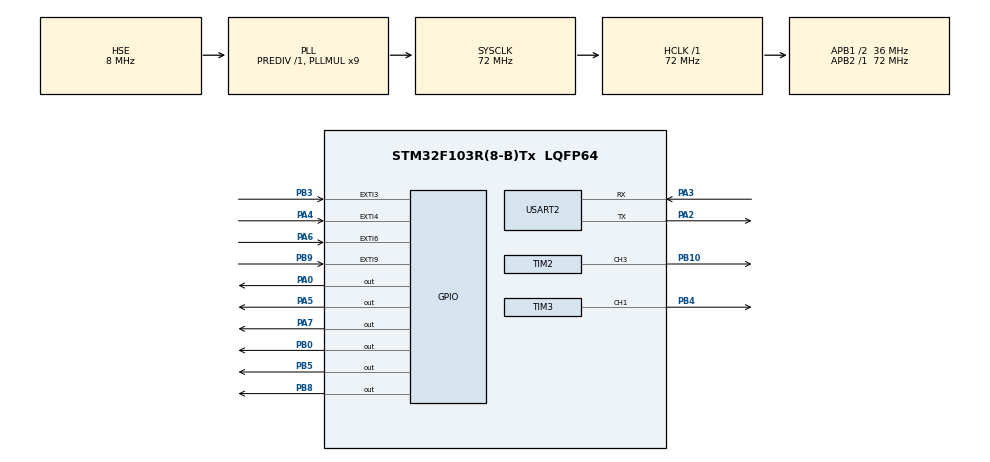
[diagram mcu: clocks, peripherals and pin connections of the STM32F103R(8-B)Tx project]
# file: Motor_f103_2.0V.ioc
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Mcu.Family=STM32F1
Mcu.Name=STM32F103R(8-B)Tx
Mcu.Package=LQFP64
NVIC.EXTI3_IRQn=true\:0\:0\:false\:false\:true\:true\:true\:true
NVIC.EXTI4_IRQn=true\:0\:0\:false\:false\:true\:true\:true\:true
NVIC.EXTI9_5_IRQn=true\:0\:0\:false\:false\:true\:true\:true\:true
NVIC.PriorityGroup=NVIC_PRIORITYGROUP_4
NVIC.TIM1_CC_IRQn=true\:0\:0\:false\:false\:true\:true\:true\:true
NVIC.TIM4_IRQn=true\:1\:0\:true\:false\:true\:true\:true\:true
PA0-WKUP.Signal=GPIO_Output
PA13.Mode=Serial_Wire
PA13.Signal=SYS_JTMS-SWDIO
PA14.Mode=Serial_Wire
PA14.Signal=SYS_JTCK-SWCLK
PA2.Mode=Asynchronous
PA2.Signal=USART2_TX
PA3.Mode=Asynchronous
PA3.Signal=USART2_RX
PA4.Signal=GPXTI4
PA5.GPIO_Speed=GPIO_SPEED_FREQ_HIGH
PA5.Signal=GPIO_Output
PA6.Signal=GPXTI6
PA7.GPIO_Speed=GPIO_SPEED_FREQ_HIGH
PA7.Signal=GPIO_Output
PB0.Signal=GPIO_Output
PB10.Signal=S_TIM2_CH3
PB3.Signal=GPXTI3
PB4.Signal=S_TIM3_CH1
PB5.GPIO_Speed=GPIO_SPEED_FREQ_HIGH
PB5.Signal=GPIO_Output
PB8.GPIO_Speed=GPIO_SPEED_FREQ_HIGH
PB8.Signal=GPIO_Output
PB9.Signal=GPXTI9
PD0-OSC_IN.Mode=HSE-External-Clock-Source
PD0-OSC_IN.Signal=RCC_OSC_IN
PD1-OSC_OUT.Mode=HSE-External-Clock-Source
PD1-OSC_OUT.Signal=RCC_OSC_OUT
ProjectManager.HeapSize=0x200
ProjectManager.StackSize=0x400
ProjectManager.TargetToolchain=STM32CubeIDE
RCC.AHBFreq_Value=72000000
RCC.APB1CLKDivider=RCC_HCLK_DIV2
RCC.APB1Freq_Value=36000000
RCC.APB1TimFreq_Value=72000000
RCC.APB2Freq_Value=72000000
RCC.APB2TimFreq_Value=72000000
RCC.HCLKFreq_Value=72000000
RCC.PLLMUL=RCC_PLL_MUL9
RCC.PLLSourceVirtual=RCC_PLLSOURCE_HSE
RCC.SYSCLKFreq_VALUE=72000000
RCC.SYSCLKSource=RCC_SYSCLKSOURCE_PLLCLK
RCC.USBFreq_Value=72000000
SH.S_TIM2_CH3.0=TIM2_CH3,PWM Generation3 CH3
SH.S_TIM3_CH1.0=TIM3_CH1,PWM Generation1 CH1
TIM1.Prescaler=72-1
TIM2.Channel-PWM\ Generation3\ CH3=TIM_CHANNEL_3
TIM2.Period=999
TIM2.Prescaler=71
TIM3.Channel-PWM\ Generation1\ CH1=TIM_CHANNEL_1
TIM3.Period=999
TIM3.Prescaler=71
TIM4.Period=99
TIM4.Prescaler=7199
USART2.VirtualMode=VM_ASYNC
VP_TIM1_VS_ClockSourceINT.Mode=Internal
VP_TIM4_VS_ClockSourceINT.Mode=Internal
board=custom

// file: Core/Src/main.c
/* USER CODE BEGIN Header */
/**
  ******************************************************************************
  * @file           : main.c
  * @brief          : Main program body
  ******************************************************************************
  * @attention
  *
  * Copyright (c) 2025 STMicroelectronics.
  * All rights reserved.
  *
  * This software is licensed under terms that can be found in the LICENSE file
  * in the root directory of this software component.
  * If no LICENSE file comes with this software, it is provided AS-IS.
  *
  ******************************************************************************
  */
/* USER CODE END Header */
#include "main.h"
#include "tim.h"
#include "usart.h"
#include "gpio.h"

/* USER CODE BEGIN Includes */
#include <stdlib.h>    // atoi, abs
#include <string.h>    // strlen
#include <stdio.h>     // snprintf
#include "motor_control.h"   // Motor_Init(), Stop_All(), Drive(), Move_xxx()
#include "sensor.h"          // Sensor_Init(), Sensor_Update(), dist_front, dist_right, ...
#include "robot_control.h"   // Control_Init(), Control_SetCmd(), Control_Update()
/* USER CODE END Includes */

/* USER CODE BEGIN PD */
#define CMD_BUF_SIZE  32
/* USER CODE END PD */

/* USER CODE BEGIN PV */
char cmdBuf[CMD_BUF_SIZE];
char    ack[64];                // 디버그 메시지용
uint8_t cmdIdx = 0;
uint8_t rx;   // UART 블로킹 수신 버퍼
volatile uint8_t flag_control; // 10 ms 타이머 ISR 신호
/* USER CODE END PV */

void SystemClock_Config(void);

int main(void)
{

  /* MCU Configuration--------------------------------------------------------*/

  /* Reset of all peripherals, Initializes the Flash interface and the Systick. */
  HAL_Init();

  /* Configure the system clock */
  SystemClock_Config();

  /* Initialize all configured peripherals */
  MX_GPIO_Init();
  MX_USART2_UART_Init();
  MX_TIM1_Init();
  MX_TIM2_Init();
  MX_TIM3_Init();
  MX_TIM4_Init();
  /* USER CODE BEGIN 2 */
  Motor_Init();                  // 모터 초기화
  Stop_All();                    // 즉시 모터 정지
  HAL_Delay(10);                 // 레벨 안정화
  Sensor_Init();                 // 초음파 센서 초기화
  Control_Init();                // 제어 모듈 초기화

    /* 2) TIM4 10ms 주기 인터럽트 시작 */
    if (HAL_TIM_Base_Start_IT(&htim4) != HAL_OK) {
      Error_Handler();
    }

  // Ready 메시지 출력
  HAL_UART_Transmit(&huart2, (uint8_t *)"UART2 Ready\r\n", 14, HAL_MAX_DELAY);
  /* USER CODE END 2 */

  /* Infinite loop */
  /* USER CODE BEGIN WHILE */
  while (1)
  {

	          // 2) UART 비동기 수신 처리 (기존 코드 그대로)
	          if (HAL_UART_Receive(&huart2, &rx, 1, 0) == HAL_OK)
	          {
	              // 2-1) 받은 문자 에코
	              HAL_UART_Transmit(&huart2, &rx, 1, HAL_MAX_DELAY);

	              // 2-2) Backspace 처리
	              if (rx == '\b' || rx == 0x7F) {
	                  if (cmdIdx > 0) {
	                      cmdIdx--;
	                      HAL_UART_Transmit(&huart2, (uint8_t*)"\b \b", 3, 10);
	                  }
	                  continue;
	              }

	              // 2-3) 개행 문자 처리
	              if (rx == '\r' || rx == '\n') {
	                  if (cmdIdx > 0) {
	                      cmdBuf[cmdIdx] = '\0';
	                      int n = snprintf(ack, sizeof(ack),
	                                       "[CMD] %s 진행중\r\n",
	                                       cmdBuf);
	                      HAL_UART_Transmit(&huart2,
	                                        (uint8_t*)ack,
	                                        n,
	                                        HAL_MAX_DELAY);
	                      Control_SetCmd(cmdBuf);
	                      cmdIdx = 0;
	                  }
	                  continue;
	              }

	              // 2-4) 일반 문자 버퍼링
	              if (cmdIdx < sizeof(cmdBuf)-1) {
	                  cmdBuf[cmdIdx++] = rx;
	              }
	          }
  }
    /* USER CODE END WHILE */

}

void SystemClock_Config(void)
{
  RCC_OscInitTypeDef RCC_OscInitStruct = {0};
  RCC_ClkInitTypeDef RCC_ClkInitStruct = {0};

  /** Initializes the RCC Oscillators according to the specified parameters
  * in the RCC_OscInitTypeDef structure.
  */
  RCC_OscInitStruct.OscillatorType = RCC_OSCILLATORTYPE_HSE;
  RCC_OscInitStruct.HSEState = RCC_HSE_BYPASS;
  RCC_OscInitStruct.HSEPredivValue = RCC_HSE_PREDIV_DIV1;
  RCC_OscInitStruct.HSIState = RCC_HSI_ON;
  RCC_OscInitStruct.PLL.PLLState = RCC_PLL_ON;
  RCC_OscInitStruct.PLL.PLLSource = RCC_PLLSOURCE_HSE;
  RCC_OscInitStruct.PLL.PLLMUL = RCC_PLL_MUL9;
  if (HAL_RCC_OscConfig(&RCC_OscInitStruct) != HAL_OK)
  {
    Error_Handler();
  }

  /** Initializes the CPU, AHB and APB buses clocks
  */
  RCC_ClkInitStruct.ClockType = RCC_CLOCKTYPE_HCLK|RCC_CLOCKTYPE_SYSCLK
                              |RCC_CLOCKTYPE_PCLK1|RCC_CLOCKTYPE_PCLK2;
  RCC_ClkInitStruct.SYSCLKSource = RCC_SYSCLKSOURCE_PLLCLK;
  RCC_ClkInitStruct.AHBCLKDivider = RCC_SYSCLK_DIV1;
  RCC_ClkInitStruct.APB1CLKDivider = RCC_HCLK_DIV2;
  RCC_ClkInitStruct.APB2CLKDivider = RCC_HCLK_DIV1;

  if (HAL_RCC_ClockConfig(&RCC_ClkInitStruct, FLASH_LATENCY_2) != HAL_OK)
  {
    Error_Handler();
  }
}

/* USER CODE BEGIN 4 */
/**
  * @brief  Period elapsed callback in non-blocking mode
  * @param  htim TIM handle
  */
/*
void HAL_TIM_PeriodElapsedCallback(TIM_HandleTypeDef *htim)
{
  if (htim == &htim4)
  {
	  flag_control = 1;
  }
}
*/

/* USER CODE END 4 */

void Error_Handler(void)
{
  __disable_irq();
  while (1)
  {
  }
}
